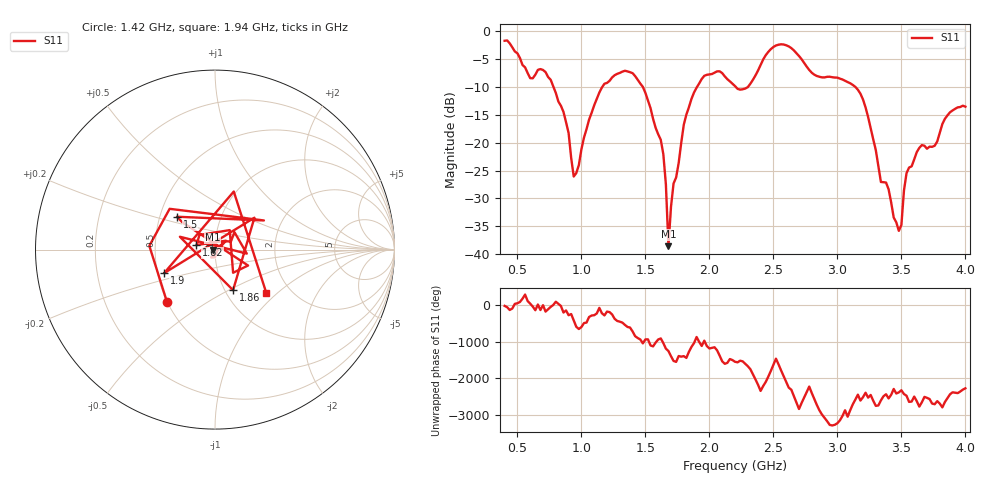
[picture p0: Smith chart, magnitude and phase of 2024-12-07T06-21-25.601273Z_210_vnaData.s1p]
!Created with skrf (http://scikit-rf.org).
# Hz S RI R 50.0
!freq ReS11 ImS11
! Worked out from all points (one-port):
!   181 points, 400 MHz to 4 GHz, reference 50 ohm
!   lowest |S11| = -38.6 dB at 1.68 GHz (marker M1), VSWR 1.02, Z = 48.8 - j0.0215 ohm
!   |S11| at or under -10 dB: 782 MHz to 1.163 GHz (380.9 MHz wide, 39.2 % of centre); 1.481 GHz to 1.903 GHz (422.6 MHz wide, 25 % of centre); 3.141 GHz to end of sweep (the widest 3 of 4)
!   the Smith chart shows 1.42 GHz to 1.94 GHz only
!   S11 on the Smith chart (normalised r, x): 1.42 GHz: 0.50, -0.35; 1.5 GHz: 0.61, +0.24; 1.62 GHz: 0.81, +0.04; 1.86 GHz: 1.09, -0.53; 1.9 GHz: 0.54, -0.16; 1.94 GHz: 1.51, -0.85
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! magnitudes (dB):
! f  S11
! 400 MHz  -1.7
! 600 MHz  -8.4
! 720 MHz  -7.3
! 860 MHz  -14.5
! 940 MHz  -26.1
! 1.14 GHz  -11.0
! 1.3 GHz  -7.5
! 1.42 GHz  -8.0
! 1.5 GHz  -11.0
! 1.62 GHz  -19.5
! 1.66 GHz  -27.5
! 1.68 GHz  -38.6
! 1.72 GHz  -27.3
! 1.76 GHz  -23.6
! 1.86 GHz  -12.1
! 1.9 GHz  -10.1
! 1.94 GHz  -8.6
! 2.2 GHz  -9.8
! 2.3 GHz  -10.0
! 2.5 GHz  -2.8
! 2.66 GHz  -3.4
! 3.1 GHz  -9.3
! 3.2 GHz  -12.2
! 3.34 GHz  -27.1
! 3.4 GHz  -28.4
! 3.48 GHz  -35.8
! 3.56 GHz  -24.5
! 4 GHz  -13.5
